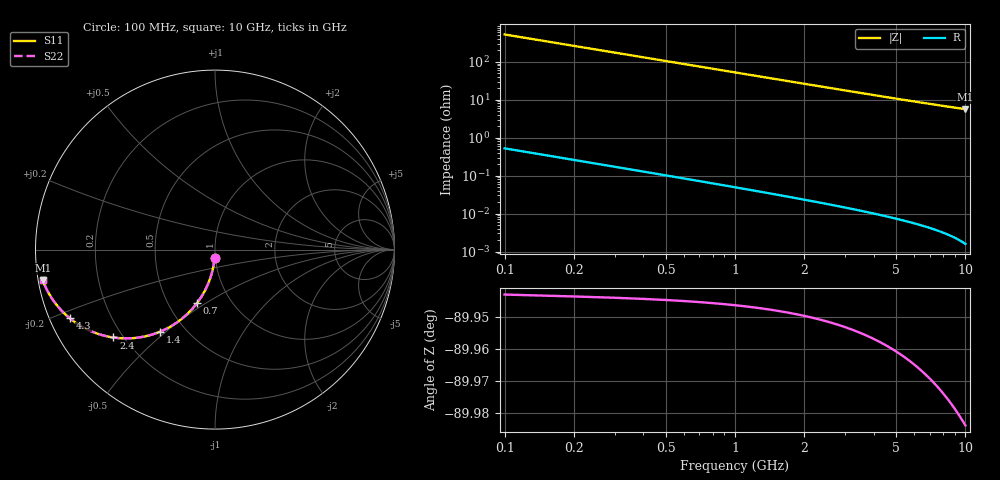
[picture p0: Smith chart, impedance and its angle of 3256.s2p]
# Hz S RI R 50.00
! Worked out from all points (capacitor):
!   100 points, 100 MHz to 10 GHz, reference 50 ohm
!   read as one part in shunt: C = 3.03 pF near 100 MHz
!   lowest |Z| = 5.66 ohm at 10 GHz (marker M1)
!   S11 on the Smith chart (normalised r, x): 100 MHz: 0.99, -0.09; 700 MHz: 0.69, -0.46; 1.4 GHz: 0.36, -0.48; 2.4 GHz: 0.16, -0.36; 4.3 GHz: 0.06, -0.22; 10 GHz: 0.01, -0.09
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1e8  -0.00214 -0.0472  0.9975 -0.0477  0.9975 -0.0477  -0.00214 -0.0472
2e8  -0.0089 -0.0938  0.9908 -0.0947  0.9908 -0.0947  -0.0089 -0.0938
3e8  -0.0199 -0.1392  0.9797 -0.1405  0.9797 -0.1405  -0.0199 -0.1392
4e8  -0.0349 -0.1827  0.9647 -0.1844  0.9647 -0.1844  -0.0349 -0.1827
5e8  -0.0536 -0.2239  0.9461 -0.2261  0.9461 -0.2261  -0.0536 -0.2239
6e8  -0.0754 -0.2625  0.9243 -0.2651  0.9243 -0.2651  -0.0754 -0.2625
7e8  -0.0999 -0.298  0.8998 -0.3011  0.8998 -0.3011  -0.0999 -0.298
8e8  -0.1266 -0.3304  0.873 -0.334  0.873 -0.334  -0.1266 -0.3304
1e9  -0.1847 -0.3854  0.815 -0.3899  0.815 -0.3899  -0.1847 -0.3854
1.2e9  -0.2459 -0.4276  0.7537 -0.4329  0.7537 -0.4329  -0.2459 -0.4276
1.4e9  -0.3075 -0.4579  0.6922 -0.4641  0.6922 -0.4641  -0.3075 -0.4579
1.8e9  -0.4233 -0.4896  0.5763 -0.4976  0.5763 -0.4976  -0.4233 -0.4896
2.1e9  -0.4999 -0.4948  0.4997 -0.5041  0.4997 -0.5041  -0.4999 -0.4948
2.4e9  -0.5664 -0.4897  0.4332 -0.5003  0.4332 -0.5003  -0.5664 -0.4897
2.9e9  -0.6563 -0.4679  0.3433 -0.4808  0.3433 -0.4808  -0.6563 -0.4679
3.4e9  -0.7244 -0.4386  0.2752 -0.4537  0.2752 -0.4537  -0.7244 -0.4386
3.8e9  -0.7667 -0.4137  0.2328 -0.4307  0.2328 -0.4307  -0.7667 -0.4137
4.3e9  -0.8083 -0.3832  0.1911 -0.4025  0.1911 -0.4025  -0.8083 -0.3832
5.1e9  -0.8562 -0.3386  0.1432 -0.3615  0.1432 -0.3615  -0.8562 -0.3386
6.7e9  -0.912 -0.2669  0.0872 -0.2972  0.0872 -0.2972  -0.912 -0.2669
8.4e9  -0.9427 -0.2114  0.0561 -0.2498  0.0561 -0.2498  -0.9427 -0.2114
1e10  -0.9593 -0.1719  0.0392 -0.2183  0.0392 -0.2183  -0.9593 -0.1719
